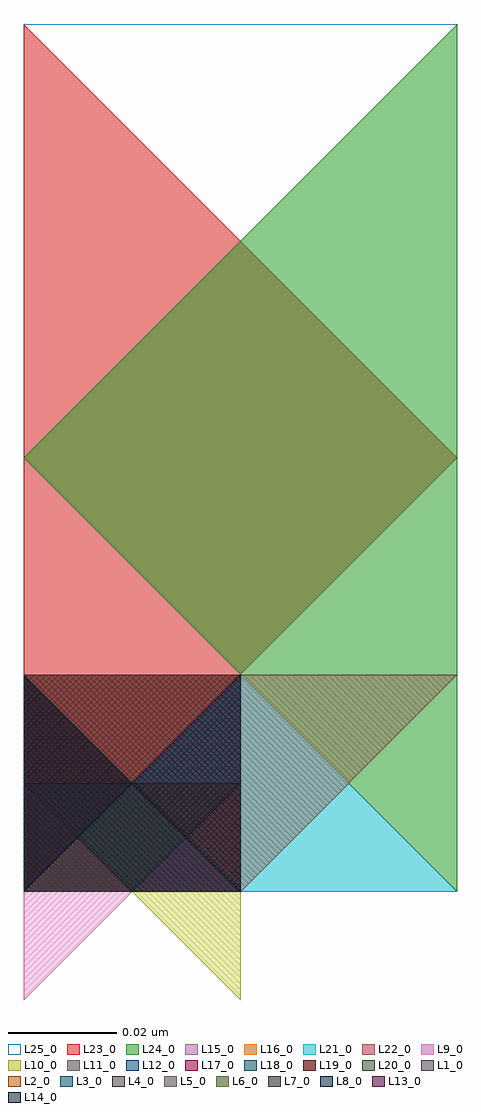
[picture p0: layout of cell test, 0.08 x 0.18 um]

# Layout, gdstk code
import gdstk
lib = gdstk.Library(unit=1e-6, precision=1e-09)
def R(c, l, rs):  # rectangles x0, y0, x1, y1
    for r in rs: c.add(gdstk.rectangle(r[:2], r[2:], *l))
def P(c, l, *ps):  # polygons
    for p in ps: c.add(gdstk.Polygon(p, *l))
L1_0 = (1, 0)
L2_0 = (2, 0)
L3_0 = (3, 0)
L4_0 = (4, 0)
L5_0 = (5, 0)
L6_0 = (6, 0)
L7_0 = (7, 0)
L8_0 = (8, 0)
L9_0 = (9, 0)
L10_0 = (10, 0)
L11_0 = (11, 0)
L12_0 = (12, 0)
L13_0 = (13, 0)
L14_0 = (14, 0)
L15_0 = (15, 0)
L16_0 = (16, 0)
L17_0 = (17, 0)
L18_0 = (18, 0)
L19_0 = (19, 0)
L20_0 = (20, 0)
L21_0 = (21, 0)
L22_0 = (22, 0)
L23_0 = (23, 0)
L24_0 = (24, 0)
L25_0 = (25, 0)

test = lib.new_cell('test')
P(test, L1_0, [(0,0.02),(0.04,0.02),(0.04,0),(0.02,0)])
P(test, L2_0, [(0.02,0.02),(0.04,0.02),(0.04,0),(0,0)])
P(test, L3_0, [(0,0.02),(0.04,0.02),(0.02,0),(0,0)])
P(test, L4_0, [(0,0.02),(0.02,0.02),(0.04,0),(0,0)])
P(test, L5_0, [(0,0),(0.02,0.02),(0.02,0.02),(0.04,0)])
P(test, L6_0, [(0.02,0),(0,0.02),(0.04,0.02),(0.02,0)])
P(test, L7_0, [(0.02,0.02),(0.04,0.02),(0.02,0),(0,0)])
P(test, L8_0, [(0,0.02),(0.02,0.02),(0.04,0),(0.02,0)])
P(test, L9_0, [(0,-0.02),(0,0.02),(0.04,0.02),(0.04,0.02)])
P(test, L10_0, [(0,0.02),(0,0.02),(0.04,0.02),(0.04,-0.02)])
P(test, L11_0, [(0,0),(0,0.04),(0.04,0),(0.04,0)])
P(test, L12_0, [(0,0),(0,0),(0.04,0.04),(0.04,0)])
P(test, L13_0, [(0,0),(0,0.04),(0.04,0),(0.04,0.04)])
P(test, L14_0, [(0,0.04),(0,0),(0.04,0.04),(0.04,0)])
R(test, L15_0, [(0,0,0.04,0.04)])
R(test, L16_0, [(0,0,0.04,0.04)])
P(test, L17_0, [(0,0),(0,0.04),(0.04,0),(0,0)])
P(test, L18_0, [(0,0),(0,0.04),(0.04,0.04),(0,0)])
P(test, L19_0, [(0,0),(0,0.04),(0.04,0.04),(0.04,0.04)])
P(test, L20_0, [(0,0),(0,0.04),(0.04,0),(0.04,0)])
P(test, L21_0, [(0,0),(0.04,0.04),(0.08,0),(0,0)])
P(test, L22_0, [(0,0.04),(0.08,0.04),(0.04,0),(0,0.04)])
P(test, L23_0, [(0,0),(0,0.16),(0.08,0.08),(0,0)])
P(test, L24_0, [(0.08,0),(0,0.08),(0.08,0.16),(0.08,0)])
R(test, L25_0, [(0,0,0.08,0.16)])

lib.write_gds('test.gds')
